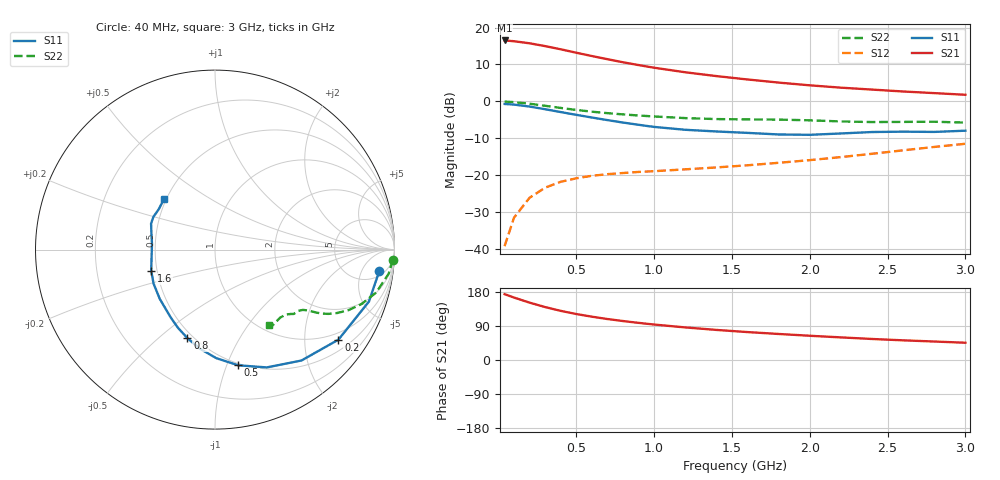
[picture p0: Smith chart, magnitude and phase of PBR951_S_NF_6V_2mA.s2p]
! Filename:  PBR951L.S2P  Version:  3.0
! Philips part #:  PBR951  Date: July 1998
! Bias condition:  Vce=6V, Ic=2.0mA
#  MHz  S  MA  R 50
! Freq  S11  S21  S12  S22
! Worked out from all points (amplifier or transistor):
!   21 points, 40 MHz to 3 GHz, reference 50 ohm
!   highest |S21| = 16.5 dB at 40 MHz (marker M1)
!   |S21| within 3 dB of that: start of sweep to 465.5 MHz
!   unconditionally stable (mu >= 1): 1.524 GHz to 2.586 GHz
!   at 300 MHz: K = 0.25, MSG = 19.2 dB, |S12| = -23.4 dB
!   at 1 GHz: K = 0.77, MSG = 14.0 dB, |S12| = -18.9 dB
!   at 3 GHz: K = 0.95, MSG = 6.6 dB, |S12| = -11.5 dB
!   lowest NFmin = 0.97 dB at 500 MHz
!   S11 on the Smith chart (normalised r, x): 40 MHz: 7, -11; 200 MHz: 0.79, -2.87; 500 MHz: 0.48, -1.10; 800 MHz: 0.47, -0.63; 1.6 GHz: 0.46, -0.13; 3 GHz: 0.49, +0.33
40  0.923 -7.5  6.69 173.7  0.01093 85.8  0.9929 -3.2
100  0.9052 -18.7  6.53 164.8  0.0265 79.3  0.9771 -7.9
200  0.8512 -36.1  6.125 151.4  0.04943 70.5  0.9301 -14.8
300  0.7835 -52.1  5.612 139.7  0.06766 63.3  0.8719 -20.3
400  0.717 -66.3  5.078 129.7  0.08132 58.0  0.8157 -24.5
500  0.6575 -78.6  4.566 121.3  0.09082 54.3  0.7661 -27.5
600  0.605 -89.3  4.118 114.3  0.09812 52.1  0.7257 -29.6
700  0.5581 -98.8  3.73 108.2  0.1032 50.6  0.6931 -30.9
800  0.5168 -107.3  3.39 102.8  0.107 50.2  0.6666 -31.8
900  0.482 -115.4  3.107 98.0  0.1107 50.2  0.6439 -32.5
1000  0.4511 -123.2  2.858 93.6  0.1134 50.8  0.6246 -33.0
1200  0.4123 -138.3  2.48 86.0  0.12 52.9  0.5938 -34.4
1400  0.3912 -151.0  2.202 79.4  0.1274 56.0  0.5759 -36.4
1600  0.3744 -161.6  1.981 73.7  0.1363 60.0  0.57 -38.2
1800  0.3564 -172.7  1.797 68.7  0.1472 63.8  0.5664 -39.3
2000  0.3524 175.0  1.651 64.0  0.16 67.3  0.554 -40.3
2200  0.3676 164.7  1.534 59.7  0.1759 70.2  0.5351 -42.6
2400  0.3845 157.8  1.445 55.5  0.195 72.5  0.5249 -46.3
2600  0.3888 152.1  1.362 51.9  0.2172 74.3  0.5273 -50.2
2800  0.3858 144.2  1.295 48.8  0.2414 75.2  0.53 -52.6
3000  0.4008 135.0  1.229 45.5  0.2665 75.8  0.5161 -54.1
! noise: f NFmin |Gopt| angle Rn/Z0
500  0.968  0.504  30.65  0.266
800  1.095  0.405  58.73  0.275
900  1.135  0.421  66.12  0.258
1000  1.208  0.381  67.86  0.272
1500  1.638  0.386  122.2  0.15
2000  2.32  0.4  -175.5  0.11
